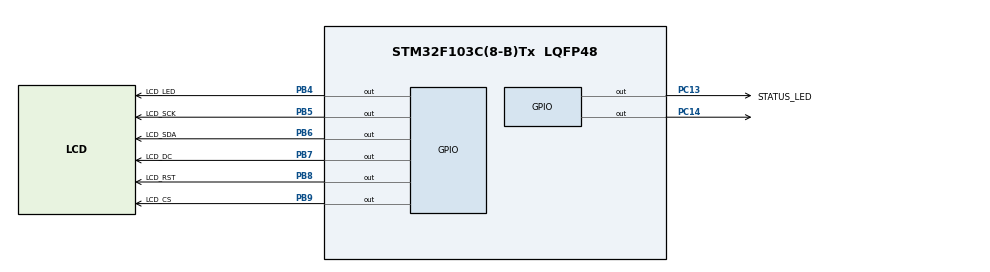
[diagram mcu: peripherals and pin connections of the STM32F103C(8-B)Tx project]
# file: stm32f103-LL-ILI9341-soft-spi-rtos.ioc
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Mcu.Family=STM32F1
PB7.GPIO_PuPd=GPIO_NOPULL
RCC.PLLSourceVirtual=RCC_PLLSOURCE_HSE
PB5.GPIO_ModeDefaultOutputPP=GPIO_MODE_OUTPUT_PP
FREERTOS.Tasks01=defaultTask,0,256,StartDefaultTask,Default,NULL,Dynamic,NULL,NULL;myTask02,-3,256,StartTask02,Default,NULL,Dynamic,NULL,NULL;myTask03,-2,256,StartTask03,Default,NULL,Dynamic,NULL,NULL;myTask04,-1,256,StartTask04,Default,NULL,Dynamic,NULL,NULL
ADC1.Rank-0\#ChannelRegularConversion=1
PD1-OSC_OUT.Mode=HSE-External-Oscillator
PB9.GPIO_Label=LCD_CS
VP_ADC1_TempSens_Input.Mode=IN-TempSens
PB6.GPIO_PuPd=GPIO_NOPULL
PB8.GPIO_PuPd=GPIO_NOPULL
PB9.GPIO_ModeDefaultOutputPP=GPIO_MODE_OUTPUT_PP
PC13-TAMPER-RTC.Signal=GPIO_Output
PB6.GPIO_Label=LCD_SDA
PD0-OSC_IN.Signal=RCC_OSC_IN
RCC.APB1CLKDivider=RCC_HCLK_DIV2
PC14-OSC32_IN.Signal=GPIO_Output
RCC.SYSCLKSource=RCC_SYSCLKSOURCE_PLLCLK
ProjectManager.StackSize=0x800
PD1-OSC_OUT.Signal=RCC_OSC_OUT
RCC.ADCPresc=RCC_ADCPCLK2_DIV4
PA13.Signal=SYS_JTMS-SWDIO
PB8.GPIO_Label=LCD_RST
ProjectManager.TargetToolchain=Makefile
RCC.HCLKFreq_Value=112000000
RCC.APB2TimFreq_Value=112000000
PB6.Signal=GPIO_Output
PB5.PinState=GPIO_PIN_RESET
PB4.GPIO_PuPd=GPIO_NOPULL
RCC.USBFreq_Value=112000000
FREERTOS.configMINIMAL_STACK_SIZE=256
RCC.AHBFreq_Value=112000000
PD0-OSC_IN.Mode=HSE-External-Oscillator
ADC1.Channel-0\#ChannelRegularConversion=ADC_CHANNEL_TEMPSENSOR
board=custom
PC13-TAMPER-RTC.GPIO_Label=STATUS_LED
RCC.PLLMUL=RCC_PLL_MUL14
PB4.GPIO_Speed=GPIO_SPEED_FREQ_LOW
RCC.APB2Freq_Value=56000000
PB4.GPIO_Label=LCD_LED
PC13-TAMPER-RTC.PinState=GPIO_PIN_RESET
PB7.GPIO_ModeDefaultOutputPP=GPIO_MODE_OUTPUT_PP
PA14.Mode=Serial_Wire
PB8.PinState=GPIO_PIN_RESET
PB7.Signal=GPIO_Output
PC13-TAMPER-RTC.GPIO_Speed=GPIO_SPEED_FREQ_LOW
VP_FREERTOS_VS_CMSIS_V1.Mode=CMSIS_V1
PA13.Mode=Serial_Wire
Mcu.Name=STM32F103C(8-B)Tx
ADC1.SamplingTime-0\#ChannelRegularConversion=ADC_SAMPLETIME_1CYCLE_5
FREERTOS.configTOTAL_HEAP_SIZE=5680
PB7.PinState=GPIO_PIN_RESET
PB7.GPIO_Label=LCD_DC
RCC.SYSCLKFreq_VALUE=112000000
Mcu.Package=LQFP48
PC13-TAMPER-RTC.GPIO_ModeDefaultOutputPP=GPIO_MODE_OUTPUT_PP
PB5.Signal=GPIO_Output
PB9.Signal=GPIO_Output
ADC1.master=1
PB5.GPIO_PuPd=GPIO_NOPULL
PC13-TAMPER-RTC.GPIO_PuPd=GPIO_NOPULL
PB9.PinState=GPIO_PIN_RESET
PB6.PinState=GPIO_PIN_RESET
PB6.GPIO_ModeDefaultOutputPP=GPIO_MODE_OUTPUT_PP
PA14.Signal=SYS_JTCK-SWCLK
PB9.GPIO_PuPd=GPIO_NOPULL
ProjectManager.HeapSize=0x1000
PB8.GPIO_ModeDefaultOutputPP=GPIO_MODE_OUTPUT_PP
PB5.GPIO_Speed=GPIO_SPEED_FREQ_HIGH
NVIC.PriorityGroup=NVIC_PRIORITYGROUP_4
ADC1.NbrOfConversionFlag=1
RCC.APB2CLKDivider=RCC_HCLK_DIV2
PB9.GPIO_Speed=GPIO_SPEED_FREQ_LOW
PB5.GPIO_Label=LCD_SCK
RCC.APB1TimFreq_Value=112000000
PB8.Signal=GPIO_Output
PB6.GPIO_Speed=GPIO_SPEED_FREQ_HIGH
RCC.APB1Freq_Value=56000000
PB8.GPIO_Speed=GPIO_SPEED_FREQ_LOW
PB4.PinState=GPIO_PIN_RESET
PB4.Signal=GPIO_Output
PB4.GPIO_ModeDefaultOutputPP=GPIO_MODE_OUTPUT_PP
PB7.GPIO_Speed=GPIO_SPEED_FREQ_LOW

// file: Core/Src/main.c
/* USER CODE BEGIN Header */
/**
  ******************************************************************************
  * @file           : main.c
  * @brief          : Main program body
  ******************************************************************************
  * @attention
  *
  * <h2><center>&copy; Copyright (c) 2019 STMicroelectronics.
  * All rights reserved.</center></h2>
  *
  * This software component is licensed by ST under BSD 3-Clause license,
  * the "License"; You may not use this file except in compliance with the
  * License. You may obtain a copy of the License at:
  *                        opensource.org/licenses/BSD-3-Clause
  *
  ******************************************************************************
  */
/* USER CODE END Header */
#include "main.h"
#include "cmsis_os.h"
#include "adc.h"
#include "gpio.h"

/* USER CODE BEGIN Includes */
#include "adc_cfg.h"
#include <math.h>
//#include <stdlib.h>
#include "ILI9341.h"
#include "soft_lcd.h"
#include "soft_adc.h"
#include "soft_ina219.h"

#include "pins_ext.h"

#define m_PI 3.14159

uint32_t adcResult = 0;
uint32_t max_result = 0;
float real_result[320] = {0};

uint16_t adc_counter = 0;
uint16_t i = 0;

uint16_t coord_x[320] = {0};
uint16_t coord_y[320] = {0};

uint32_t tim_counter = 0;
void fill_text(uint16_t i);

lcd_t *lcd; // pointer to i2c object, for lcd module
adc_t *adc; // pointer to i2c object, for ads1115
ina_t *ina; // pointer to i2c object, for ina219

void fill_buff(uint16_t i)
{
  if(i>318)
  {
    max_result = 0;
    for(uint16_t i = 0; i < 320; i++)
    {
    //ILI9341_fillCircle(coord_x[i], coord_y[i], 2, ILI9341_BLACK);
    //ILI9341_drawLine(coord_x[i], coord_y[i], coord_x[i-1], coord_y[i-1], ILI9341_BLACK); //(  x0,y0,x1,y1,color);
    //ILI9341_drawLine(coord_x[i], coord_y[i]+1, coord_x[i-1], coord_y[i-1]+1, ILI9341_BLACK); //(  x0,y0,x1,y1,color);
    ILI9341_drawLine(coord_x[i], coord_y[i]-1, coord_x[i-1], coord_y[i-1]-1, ILI9341_BLACK); //(  x0,y0,x1,y1,color);
    //ILI9341_drawLine(coord_x[i]+1, coord_y[i], coord_x[i-1]+1, coord_y[i-1], ILI9341_BLACK); //(  x0,y0,x1,y1,color);
    ILI9341_drawLine(coord_x[i]-1, coord_y[i], coord_x[i-1]-1, coord_y[i-1], ILI9341_BLACK); //(  x0,y0,x1,y1,color);
    }

    //ILI9341_fillScreen(ILI9341_BLACK);
    for(uint16_t i = 5; i<320; i+=23) ILI9341_drawLine( i, 10, i, 230, ILI9341_WHITE); //draw vertical lines
    for(uint16_t i = 10; i<240; i+=22) ILI9341_drawLine( 10, i, 300, i, ILI9341_WHITE); //draw horizontal lines
    ILI9341_drawLine( 10, 119, 300, 119, ILI9341_WHITE); //draw horizontal lines
    //ILI9341_drawLine( 10, 121, 300, 121, ILI9341_WHITE); //draw horizontal lines
    fill_text(i);
  }

  while(adc_counter < 12) // Пока количество измерений меньше N
  {
    adcResult += read_adc(ADC1, 0);
    adc_counter++; // Увеличиваем счетчик измерений
  }

  coord_x[i] = i; // сохраняем координаты <cord_x/y> в буфер для последующей очистки дисплея
  coord_y[i] = 230-adcResult/adc_counter/18; // Вычисляем среднее значение
  real_result[i] = adcResult/adc_counter*0.82; // 3300/4096=0.80566 Вычисляем среднее значение

  if(real_result[i]<500) real_result[i] = 0;
  if(real_result[i]>500) real_result[i] -= 500;
  real_result[i] *= .4; // значение в барах

  adcResult = 0; // Обнуляем значение
  adc_counter = 0; // Обнуляем счетчик измерений
  if(real_result[i]>max_result) max_result = real_result[i]; // сохранение максимального числа
}

void write_graph(uint16_t i)
{
  if(i) // draw values
  {
    // fill_text(i);
    //ILI9341_fillCircle(coord_x[i], coord_y[i], 2, ILI9341_YELLOW);
    //ILI9341_drawLine(coord_x[i], coord_y[i], coord_x[i-1], coord_y[i-1], ILI9341_CYAN); //(  x0,y0,x1,y1,color);
    //ILI9341_drawLine(coord_x[i], coord_y[i]+1, coord_x[i-1], coord_y[i-1]+1, ILI9341_GREEN); //(  x0,y0,x1,y1,color);
    ILI9341_drawLine(coord_x[i], coord_y[i]-1, coord_x[i-1], coord_y[i-1]-1, ILI9341_CYAN); //(  x0,y0,x1,y1,color);
    //ILI9341_drawLine(coord_x[i]+1, coord_y[i], coord_x[i-1]+1, coord_y[i-1], ILI9341_GREEN); //(  x0,y0,x1,y1,color);
    ILI9341_drawLine(coord_x[i]-1, coord_y[i], coord_x[i-1]-1, coord_y[i-1], ILI9341_CYAN); //(  x0,y0,x1,y1,color);
  }
}

void fill_text(uint16_t i)
{
  ILI9341_setTextBgColor(ILI9341_BLACK);

  ILI9341_setTextSize(2);
  ILI9341_setTextColor(ILI9341_YELLOW);

  read_adc(ADC1, 0); // heed for rank count
  ILI9341_setCursor(10,  10); ILI9341_draw_value(read_adc(ADC1, 1));
  ILI9341_setCursor(10,  45); ILI9341_draw_value(read_adc(ADC1, 2));
  ILI9341_setCursor(10,  80); ILI9341_draw_value(read_adc(ADC1, 3));
  ILI9341_setCursor(10, 115); ILI9341_draw_value(read_adc(ADC1, 4));
  ILI9341_setCursor(10, 150); ILI9341_draw_value(read_adc(ADC1, 5));
  ILI9341_setCursor(10, 185); ILI9341_draw_value(read_adc(ADC1, 6));
}

void stled_off(void)
{
  LL_GPIO_SetOutputPin(STATUS_LED_GPIO_Port, STATUS_LED_Pin);
}

void stled_on(void)
{
  LL_GPIO_ResetOutputPin(STATUS_LED_GPIO_Port, STATUS_LED_Pin);
}

/* USER CODE END Includes */

/* USER CODE BEGIN PV */
/* Private variables ---------------------------------------------------------*/

/* USER CODE END PV */

void SystemClock_Config(void);
void MX_FREERTOS_Init(void);
/* USER CODE BEGIN PFP */
/* Private function prototypes -----------------------------------------------*/

void i2c_lcd_bus(void);
void i2c_ads1115_bus(void);
void i2c_ina219_bus(void);

/*!
** the callback function from TIM4_IRQHandler
** period the tick timer one clock makes 10 mksec
**/

/*!
** the create i2c objects
**/
void i2c_ads1115_bus(void)
{
  #define adc_address 0x48
  #define adc_scl LL_GPIO_PIN_5
  #define adc_sda LL_GPIO_PIN_4

  adc = ads1115_create(GPIOB, adc_scl, adc_sda, adc_address);
}

/*!
** the create i2c objects
**/
void i2c_ina219_bus(void)
{
  #define ina_address 0x40
  #define ina_scl LL_GPIO_PIN_7
  #define ina_sda LL_GPIO_PIN_6

  ina = ina219_create(GPIOB, ina_scl, ina_sda, ina_address);
}

/*!
** the create i2c objects
**/
void i2c_lcd_bus(void)
{
  #define i2c_lcd_address 0x3f
  #define lcd_scl LL_GPIO_PIN_4
  #define lcd_sda LL_GPIO_PIN_3

  lcd = lcd_create(GPIOB, lcd_scl, lcd_sda, i2c_lcd_address, 4);
}

/*!
** the runnind measure and show result
**/
void show_ina219(lcd_t *lcd, ina_t *ina)
{
  float shuntvoltage = 0;
  float busvoltage = 0;
  float current_mA = 0;
  float power_mW = 0;

  shuntvoltage = ina219_getShuntVoltage_mV(ina);
  busvoltage = ina219_getBusVoltage_V(ina);
  current_mA = ina219_getCurrent_mA(ina);
  power_mW = ina219_getPower_mW(ina);

  lcd_pos(lcd, 0,6); lcd_print(lcd, "ShuntV"); lcd_pos(lcd, 0,14);lcd_printdigit(lcd, shuntvoltage);
  lcd_pos(lcd, 1,6); lcd_print(lcd, "Bus  V"); lcd_pos(lcd, 1,14);lcd_printdigit(lcd, busvoltage);
  lcd_pos(lcd, 2,6); lcd_print(lcd, "cur mA"); lcd_pos(lcd, 2,14);lcd_printdigit(lcd, current_mA);
  lcd_pos(lcd, 3,6); lcd_print(lcd, "pwr mW"); lcd_pos(lcd, 3,14);lcd_printdigit(lcd, power_mW);
}

/*!
** the runnind measure and show result
**/
void show_ads1115(lcd_t *lcd, adc_t *adc)
{
  uint16_t val = 0;
  const float VPS = 6.144 / 32768.0;  // volts per step

  float measure_1;
  float measure_2;

  ads1115_set_single_channal(adc, 3);
  val = ads1115_get(adc);

  uint8_t gain = 1;
  uint8_t diff_in = 1;
  ads1115_set_diff_channal(adc, diff_in, gain);
  measure_1 = get_diff_measure(adc, gain);

  gain = 1;
  diff_in = 2;
  ads1115_set_diff_channal(adc, diff_in, gain);
  measure_2 = get_diff_measure(adc, gain);

  lcd_pos(lcd, 0,0); lcd_printdigit(lcd, val*VPS);
  lcd_pos(lcd, 1,0); lcd_printdigit(lcd, measure_1);
  lcd_pos(lcd, 2,0); lcd_printdigit(lcd, measure_2);
}

/* USER CODE END PFP */

int main(void)
{

  /* MCU Configuration--------------------------------------------------------*/

  /* Reset of all peripherals, Initializes the Flash interface and the Systick. */

  LL_APB2_GRP1_EnableClock(LL_APB2_GRP1_PERIPH_AFIO);
  LL_APB1_GRP1_EnableClock(LL_APB1_GRP1_PERIPH_PWR);

  NVIC_SetPriorityGrouping(NVIC_PRIORITYGROUP_4);

  /* System interrupt init*/
  /* PendSV_IRQn interrupt configuration */
  NVIC_SetPriority(PendSV_IRQn, NVIC_EncodePriority(NVIC_GetPriorityGrouping(),15, 0));
  /* SysTick_IRQn interrupt configuration */
  NVIC_SetPriority(SysTick_IRQn, NVIC_EncodePriority(NVIC_GetPriorityGrouping(),15, 0));

  /** NOJTAG: JTAG-DP Disabled and SW-DP Enabled
  */
  LL_GPIO_AF_Remap_SWJ_NOJTAG();

  /* Configure the system clock */
  SystemClock_Config();

  /* Initialize all configured peripherals */
  MX_GPIO_Init();
  MX_ADC1_Init();
  /* USER CODE BEGIN 2 */
  ADC_Init(ADC1);
  lcd_reset();
  stled_off();

  ILI9341_begin();

  ILI9341_setRotation(0); // clear display & draw grid
  ILI9341_fillScreen(ILI9341_BLACK);
  ILI9341_setRotation(3);
  ILI9341_fillScreen(ILI9341_BLACK);

  for(uint16_t i = 5; i<320; i+=23) ILI9341_drawLine( i, 10, i, 230, ILI9341_WHITE); //draw vertical lines
  for(uint16_t i = 10; i<240; i+=22) ILI9341_drawLine( 10, i, 300, i, ILI9341_WHITE); //draw horizontal lines
  ILI9341_drawLine( 10, 119, 300, 119, ILI9341_WHITE); //draw horizontal lines
  //ILI9341_drawLine( 10, 121, 300, 121, ILI9341_WHITE); //draw horizontal lines

  /**
   * @uncomment active:
   */
  i2c_lcd_bus();
  lcd_pos(lcd, 0,6); lcd_print(lcd, "test");
  // i2c_ads1115_bus();
  // i2c_ina219_bus();

  /* USER CODE END 2 */

  /* Call init function for freertos objects (in freertos.c) */
  MX_FREERTOS_Init();
  /* Start scheduler */
  osKernelStart();

  /* We should never get here as control is now taken by the scheduler */
  /* Infinite loop */
  /* USER CODE BEGIN WHILE */

  // HAL_TIM_Base_Init(&htim3);
  // HAL_TIM_PeriodElapsedCallback(&htim3);
  // HAL_TIM_Base_Start_IT(&htim3); //запустим таймер

  // HAL_TIM_Base_Init(&htim4);
  // HAL_TIM_Base_Start_IT(&htim4); //запустим таймер

  for(uint8_t i=0;i<31;i++)
  {
    LL_GPIO_TogglePin(STATUS_LED_GPIO_Port, STATUS_LED_Pin);
    LL_mDelay(25);
  }

  while (1)
  {
    /* USER CODE END WHILE */

    /* USER CODE BEGIN 3 */
    for(uint16_t i = 0; i < 320; i++) // measurement and display redraw
    {
      LL_mDelay(1);
      fill_buff(i);
      write_graph(i);
    }
  }
  /* USER CODE END 3 */
}

void SystemClock_Config(void)
{
  LL_FLASH_SetLatency(LL_FLASH_LATENCY_2);
  while(LL_FLASH_GetLatency()!= LL_FLASH_LATENCY_2)
  {
  }
  LL_RCC_HSE_Enable();

   /* Wait till HSE is ready */
  while(LL_RCC_HSE_IsReady() != 1)
  {

  }
  LL_RCC_PLL_ConfigDomain_SYS(LL_RCC_PLLSOURCE_HSE_DIV_1, LL_RCC_PLL_MUL_14);
  LL_RCC_PLL_Enable();

   /* Wait till PLL is ready */
  while(LL_RCC_PLL_IsReady() != 1)
  {

  }
  LL_RCC_SetAHBPrescaler(LL_RCC_SYSCLK_DIV_1);
  LL_RCC_SetAPB1Prescaler(LL_RCC_APB1_DIV_2);
  LL_RCC_SetAPB2Prescaler(LL_RCC_APB2_DIV_2);
  LL_RCC_SetSysClkSource(LL_RCC_SYS_CLKSOURCE_PLL);

   /* Wait till System clock is ready */
  while(LL_RCC_GetSysClkSource() != LL_RCC_SYS_CLKSOURCE_STATUS_PLL)
  {

  }
  LL_Init1msTick(112000000);
  LL_SetSystemCoreClock(112000000);
  LL_RCC_SetADCClockSource(LL_RCC_ADC_CLKSRC_PCLK2_DIV_4);
}

void Error_Handler(void)
{
}

/************************ (C) COPYRIGHT STMicroelectronics *****END OF FILE****/
